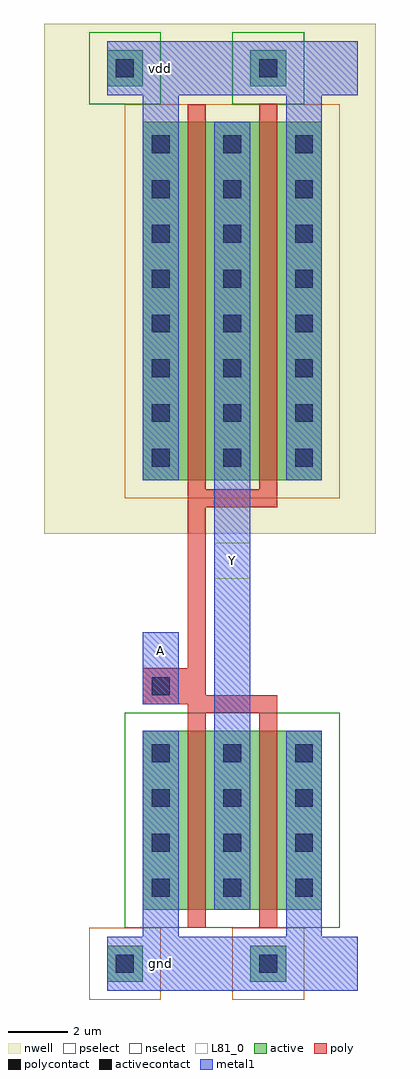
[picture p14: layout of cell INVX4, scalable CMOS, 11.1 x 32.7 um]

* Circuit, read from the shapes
.subckt INVX4 A Y gnd vdd
M1 Y A gnd gnd nfet w=6u l=0.6u m=2
M2 Y A vdd vdd pfet w=12u l=0.6u m=2
.ends

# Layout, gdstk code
import gdstk
lib = gdstk.Library(unit=1e-6, precision=1e-08)
def R(c, l, rs):  # rectangles x0, y0, x1, y1
    for r in rs: c.add(gdstk.rectangle(r[:2], r[2:], *l))
def A(c, l, x, y, w, h, nx, ny, dx, dy):  # array of equal rectangles
    R(c, l, [(x+i*dx, y+j*dy, x+i*dx+w, y+j*dy+h) for i in range(nx) for j in range(ny)])
nwell = (42, 0)
active = (43, 0)
pselect = (44, 0)
nselect = (45, 0)
poly = (46, 0)
polycontact = (47, 0)
activecontact = (48, 0)
metal1 = (49, 0)
L81_0 = (81, 0)

invx4 = lib.new_cell('INVX4')
R(invx4, nwell, [(-2.7,14.4,8.4,31.5)])
R(invx4, active, [(-0.6,-0.6,0.6,0.6), (4.2,-0.6,5.4,0.6), (0.6,1.8,6.6,7.8), (0.6,16.2,6.6,28.2), (-0.6,29.4,0.6,30.6), (4.2,29.4,5.4,30.6)])
R(invx4, pselect, [(-1.2,-1.2,1.2,1.2), (3.6,-1.2,6,1.2), (0,15.6,7.2,28.8)])
R(invx4, nselect, [(0,1.2,7.2,8.4), (-1.2,28.8,1.2,31.2), (3.6,28.8,6,31.2)])
R(invx4, poly, [(2.1,1.2,2.7,8.4), (4.5,1.2,5.1,8.4), (2.1,8.4,5.1,8.7), (0.6,8.7,5.1,9), (0.6,9,2.7,9.9), (2.1,9.9,2.7,15.3), (2.1,15.3,5.1,15.9), (2.1,15.9,2.7,28.8), (4.5,15.9,5.1,28.8)])
R(invx4, polycontact, [(0.9,9,1.5,9.6)])
A(invx4, activecontact, 0.9, 2.25, 0.6, 0.6, 3, 4, 2.4, 1.5)
A(invx4, activecontact, 0.9, 16.65, 0.6, 0.6, 3, 8, 2.4, 1.5)
R(invx4, activecontact, [(-0.3,-0.3,0.3,0.3), (4.5,-0.3,5.1,0.3), (-0.3,29.7,0.3,30.3), (4.5,29.7,5.1,30.3)])
R(invx4, metal1, [(-0.6,-0.9,7.8,0.9), (0.6,0.9,1.8,7.8), (5.4,0.9,6.6,7.8), (3,1.8,4.2,28.2), (0.6,8.7,1.8,11.1), (0.6,16.2,1.8,29.1), (5.4,16.2,6.6,29.1), (-0.6,29.1,7.8,30.9)])
R(invx4, L81_0, [(0.6,9.9,1.8,11.1), (3,12.9,4.2,14.1)])
invx4.add(gdstk.Label('vdd', (1.2,30), layer=109, texttype=0))
invx4.add(gdstk.Label('gnd', (1.2,0), layer=109, texttype=0))
invx4.add(gdstk.Label('Y', (3.6,13.5), layer=109, texttype=0))
invx4.add(gdstk.Label('A', (1.2,10.5), layer=109, texttype=0))

lib.write_gds('INVX4.gds')
